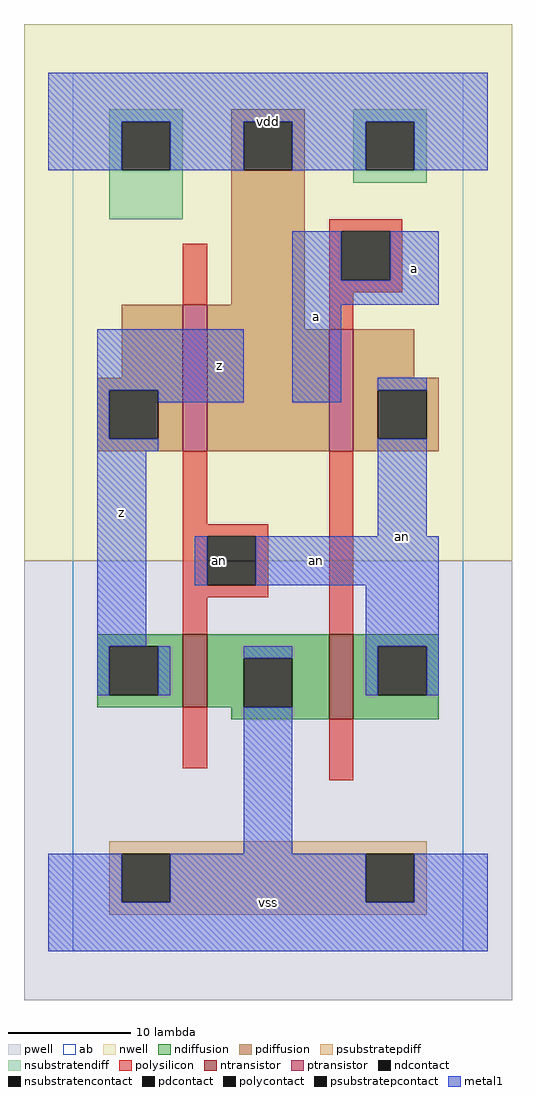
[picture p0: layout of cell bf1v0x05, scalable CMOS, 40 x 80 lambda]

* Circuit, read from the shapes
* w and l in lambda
.subckt bf1v0x05 a an vdd vss z
M1 vss an z vss nfet w=6 l=2
M2 an a vss vss nfet w=7 l=2
M3 vdd an z vdd pfet w=12 l=2
M4 an a vdd vdd pfet w=10 l=2
.ends

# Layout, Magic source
magic
tech scmos
<< ab >>
rect 0 0 32 72
<< pwell >>
rect -4 -4 36 32
<< nwell >>
rect -4 32 36 76
<< polysilicon >>
rect 9 53 11 58
rect 21 59 27 60
rect 21 55 22 59
rect 26 55 27 59
rect 21 54 27 55
rect 21 51 23 54
rect 9 35 11 41
rect 9 34 16 35
rect 9 30 11 34
rect 15 30 16 34
rect 9 29 16 30
rect 9 26 11 29
rect 21 26 23 41
rect 9 15 11 20
rect 21 14 23 19
<< ndiffusion >>
rect 2 25 9 26
rect 2 21 3 25
rect 7 21 9 25
rect 2 20 9 21
rect 11 24 21 26
rect 11 20 14 24
rect 18 20 21 24
rect 13 19 21 20
rect 23 25 30 26
rect 23 21 25 25
rect 29 21 30 25
rect 23 19 30 21
<< pdiffusion >>
rect 13 68 19 69
rect 13 64 14 68
rect 18 64 19 68
rect 13 53 19 64
rect 4 47 9 53
rect 2 46 9 47
rect 2 42 3 46
rect 7 42 9 46
rect 2 41 9 42
rect 11 51 19 53
rect 11 41 21 51
rect 23 47 28 51
rect 23 46 30 47
rect 23 42 25 46
rect 29 42 30 46
rect 23 41 30 42
<< metal1 >>
rect -2 68 34 72
rect -2 64 4 68
rect 8 64 14 68
rect 18 64 24 68
rect 28 64 34 68
rect 18 55 22 59
rect 26 55 30 59
rect 18 53 30 55
rect 2 46 14 51
rect 2 42 3 46
rect 7 45 14 46
rect 18 45 22 53
rect 25 46 29 47
rect 2 41 7 42
rect 2 25 6 41
rect 25 34 29 42
rect 10 30 11 34
rect 15 30 30 34
rect 24 25 30 30
rect 2 21 3 25
rect 7 21 8 25
rect 14 24 18 25
rect 24 21 25 25
rect 29 21 30 25
rect 14 8 18 20
rect -2 4 4 8
rect 8 4 24 8
rect 28 4 34 8
rect -2 0 34 4
<< ntransistor >>
rect 9 20 11 26
rect 21 19 23 26
<< ptransistor >>
rect 9 41 11 53
rect 21 41 23 51
<< polycontact >>
rect 22 55 26 59
rect 11 30 15 34
<< ndcontact >>
rect 3 21 7 25
rect 14 20 18 24
rect 25 21 29 25
<< pdcontact >>
rect 14 64 18 68
rect 3 42 7 46
rect 25 42 29 46
<< psubstratepcontact >>
rect 4 4 8 8
rect 24 4 28 8
<< nsubstratencontact >>
rect 4 64 8 68
rect 24 64 28 68
<< psubstratepdiff >>
rect 3 8 29 9
rect 3 4 4 8
rect 8 4 24 8
rect 28 4 29 8
rect 3 3 29 4
<< nsubstratendiff >>
rect 3 68 9 69
rect 3 64 4 68
rect 8 64 9 68
rect 3 60 9 64
rect 23 68 29 69
rect 23 64 24 68
rect 28 64 29 68
rect 23 63 29 64
<< labels >>
rlabel polycontact 12 32 12 32 6 an
rlabel metal1 4 36 4 36 6 z
rlabel metal1 12 48 12 48 6 z
rlabel metal1 16 4 16 4 6 vss
rlabel metal1 20 52 20 52 6 a
rlabel metal1 16 68 16 68 6 vdd
rlabel metal1 20 32 20 32 6 an
rlabel metal1 27 34 27 34 6 an
rlabel metal1 28 56 28 56 6 a
<< end >>
